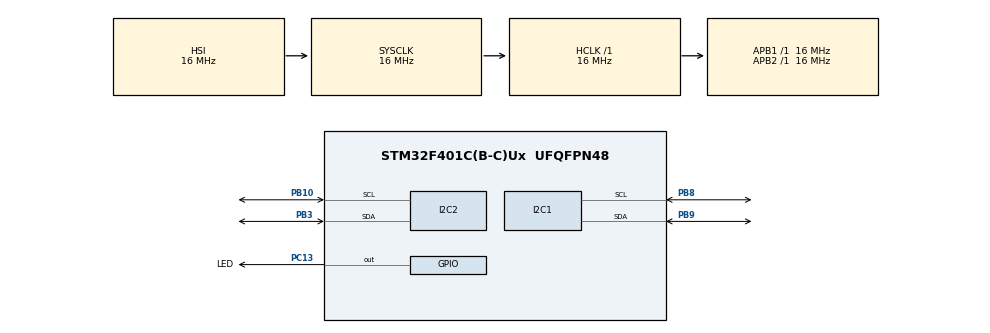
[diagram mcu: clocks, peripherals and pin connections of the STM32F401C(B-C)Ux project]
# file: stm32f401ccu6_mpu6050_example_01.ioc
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Mcu.Family=STM32F4
Mcu.Name=STM32F401C(B-C)Ux
Mcu.Package=UFQFPN48
NVIC.PriorityGroup=NVIC_PRIORITYGROUP_4
PA13.Mode=Serial_Wire
PA13.Signal=SYS_JTMS-SWDIO
PA14.Mode=Serial_Wire
PA14.Signal=SYS_JTCK-SWCLK
PB10.Mode=I2C
PB10.Signal=I2C2_SCL
PB3.Mode=I2C
PB3.Signal=I2C2_SDA
PB8.Mode=I2C
PB8.Signal=I2C1_SCL
PB9.Mode=I2C
PB9.Signal=I2C1_SDA
PC13-ANTI_TAMP.GPIO_Label=LED
PC13-ANTI_TAMP.Signal=GPIO_Output
PH0\ -\ OSC_IN.Mode=HSE-External-Oscillator
PH0\ -\ OSC_IN.Signal=RCC_OSC_IN
PH1\ -\ OSC_OUT.Mode=HSE-External-Oscillator
PH1\ -\ OSC_OUT.Signal=RCC_OSC_OUT
ProjectManager.HeapSize=0x200
ProjectManager.StackSize=0x400
ProjectManager.TargetToolchain=STM32CubeIDE
RCC.AHBFreq_Value=16000000
RCC.APB1Freq_Value=16000000
RCC.APB2Freq_Value=16000000
RCC.CortexFreq_Value=16000000
RCC.HSE_VALUE=25000000
RCC.HSI_VALUE=16000000
RCC.LSE_VALUE=32768
RCC.SYSCLKFreq_VALUE=16000000
RCC.VCOOutputFreq_Value=192000000
board=custom

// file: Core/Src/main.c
/* USER CODE BEGIN Header */
/**
  ******************************************************************************
  * @file           : main.c
  * @brief          : Main program body
  ******************************************************************************
  * @attention
  *
  * Copyright (c) 2024 STMicroelectronics.
  * All rights reserved.
  *
  * This software is licensed under terms that can be found in the LICENSE file
  * in the root directory of this software component.
  * If no LICENSE file comes with this software, it is provided AS-IS.
  *
  ******************************************************************************
  */
/* USER CODE END Header */
#include "main.h"

/* USER CODE BEGIN Includes */
#include "stdio.h"
#include "MPU6050.h"
#include "lcd1602_i2c_lib.h"
/* USER CODE END Includes */

I2C_HandleTypeDef hi2c1;
I2C_HandleTypeDef hi2c2;

void SystemClock_Config(void);
static void MX_GPIO_Init(void);
static void MX_I2C1_Init(void);
static void MX_I2C2_Init(void);

int main(void)
{
  /* USER CODE BEGIN 1 */
	char buf[9];
	float Ax;
	float Ay;
	float Az;
  /* USER CODE END 1 */

  /* MCU Configuration--------------------------------------------------------*/

  /* Reset of all peripherals, Initializes the Flash interface and the Systick. */
  HAL_Init();

  /* Configure the system clock */
  SystemClock_Config();

  /* Initialize all configured peripherals */
  MX_GPIO_Init();
  MX_I2C1_Init();
  MX_I2C2_Init();
  /* USER CODE BEGIN 2 */
  HAL_Delay(100);
  lcd1602_Init();// инициализация дисплея
  lcd1602_Clean();// предварительная очистка памяти дисплея
  lcd1602_SetCursor(1, 0);// установка курсора
  lcd1602_Print_text("INITIALIZATION");
  HAL_Delay(1500);
  lcd1602_Clean();
  lcd1602_SetCursor(0, 0);
  MPU6050_Init();
  lcd1602_Print_text("INIT IS COMPLETE");
  lcd1602_SetCursor(5, 1);
  lcd1602_Print_text("HELLO");
  HAL_Delay(1500);
  lcd1602_Clean();
  /* USER CODE END 2 */

  /* Infinite loop */
  /* USER CODE BEGIN WHILE */
  while (1)
  {
	  MPU6050_Read_Accel(&Ax, &Ay, &Az);// чтение данных об ускорении с акселерометра
	  sprintf (buf, "Ax = %.0f", Ax);// запись данных в буффер
	  lcd1602_Print_text(buf);// вывод на дисплей
	  lcd1602_SetCursor(0, 1);
	  sprintf (buf, "Ay = %.0f", Ay);// запись данных в буффер
	  lcd1602_Print_text(buf);// вывод на дисплей
	  HAL_Delay(300);
	  lcd1602_Clean();// очистка дисплея
    /* USER CODE END WHILE */

  }
}

void SystemClock_Config(void)
{
  RCC_OscInitTypeDef RCC_OscInitStruct = {0};
  RCC_ClkInitTypeDef RCC_ClkInitStruct = {0};

  /** Configure the main internal regulator output voltage
  */
  __HAL_RCC_PWR_CLK_ENABLE();
  __HAL_PWR_VOLTAGESCALING_CONFIG(PWR_REGULATOR_VOLTAGE_SCALE2);

  /** Initializes the RCC Oscillators according to the specified parameters
  * in the RCC_OscInitTypeDef structure.
  */
  RCC_OscInitStruct.OscillatorType = RCC_OSCILLATORTYPE_HSI;
  RCC_OscInitStruct.HSIState = RCC_HSI_ON;
  RCC_OscInitStruct.HSICalibrationValue = RCC_HSICALIBRATION_DEFAULT;
  RCC_OscInitStruct.PLL.PLLState = RCC_PLL_NONE;
  if (HAL_RCC_OscConfig(&RCC_OscInitStruct) != HAL_OK)
  {
    Error_Handler();
  }

  /** Initializes the CPU, AHB and APB buses clocks
  */
  RCC_ClkInitStruct.ClockType = RCC_CLOCKTYPE_HCLK|RCC_CLOCKTYPE_SYSCLK
                              |RCC_CLOCKTYPE_PCLK1|RCC_CLOCKTYPE_PCLK2;
  RCC_ClkInitStruct.SYSCLKSource = RCC_SYSCLKSOURCE_HSI;
  RCC_ClkInitStruct.AHBCLKDivider = RCC_SYSCLK_DIV1;
  RCC_ClkInitStruct.APB1CLKDivider = RCC_HCLK_DIV1;
  RCC_ClkInitStruct.APB2CLKDivider = RCC_HCLK_DIV1;

  if (HAL_RCC_ClockConfig(&RCC_ClkInitStruct, FLASH_LATENCY_0) != HAL_OK)
  {
    Error_Handler();
  }
}

static void MX_I2C1_Init(void)
{

  hi2c1.Instance = I2C1;
  hi2c1.Init.ClockSpeed = 100000;
  hi2c1.Init.DutyCycle = I2C_DUTYCYCLE_2;
  hi2c1.Init.OwnAddress1 = 0;
  hi2c1.Init.AddressingMode = I2C_ADDRESSINGMODE_7BIT;
  hi2c1.Init.DualAddressMode = I2C_DUALADDRESS_DISABLE;
  hi2c1.Init.OwnAddress2 = 0;
  hi2c1.Init.GeneralCallMode = I2C_GENERALCALL_DISABLE;
  hi2c1.Init.NoStretchMode = I2C_NOSTRETCH_DISABLE;
  if (HAL_I2C_Init(&hi2c1) != HAL_OK)
  {
    Error_Handler();
  }

}

static void MX_I2C2_Init(void)
{

  hi2c2.Instance = I2C2;
  hi2c2.Init.ClockSpeed = 100000;
  hi2c2.Init.DutyCycle = I2C_DUTYCYCLE_2;
  hi2c2.Init.OwnAddress1 = 0;
  hi2c2.Init.AddressingMode = I2C_ADDRESSINGMODE_7BIT;
  hi2c2.Init.DualAddressMode = I2C_DUALADDRESS_DISABLE;
  hi2c2.Init.OwnAddress2 = 0;
  hi2c2.Init.GeneralCallMode = I2C_GENERALCALL_DISABLE;
  hi2c2.Init.NoStretchMode = I2C_NOSTRETCH_DISABLE;
  if (HAL_I2C_Init(&hi2c2) != HAL_OK)
  {
    Error_Handler();
  }

}

static void MX_GPIO_Init(void)
{
  GPIO_InitTypeDef GPIO_InitStruct = {0};

  /* GPIO Ports Clock Enable */
  __HAL_RCC_GPIOC_CLK_ENABLE();
  __HAL_RCC_GPIOH_CLK_ENABLE();
  __HAL_RCC_GPIOB_CLK_ENABLE();
  __HAL_RCC_GPIOA_CLK_ENABLE();

  /*Configure GPIO pin Output Level */
  HAL_GPIO_WritePin(LED_GPIO_Port, LED_Pin, GPIO_PIN_RESET);

  /*Configure GPIO pin : LED_Pin */
  GPIO_InitStruct.Pin = LED_Pin;
  GPIO_InitStruct.Mode = GPIO_MODE_OUTPUT_PP;
  GPIO_InitStruct.Pull = GPIO_NOPULL;
  GPIO_InitStruct.Speed = GPIO_SPEED_FREQ_LOW;
  HAL_GPIO_Init(LED_GPIO_Port, &GPIO_InitStruct);

}

void Error_Handler(void)
{
  __disable_irq();
  while (1)
  {
  }
}
